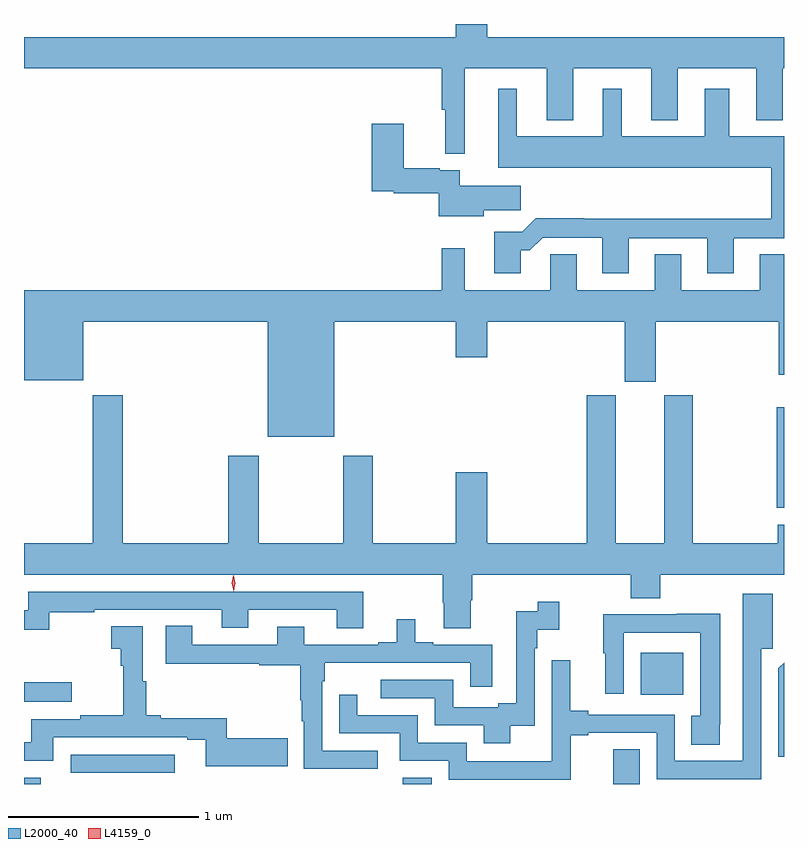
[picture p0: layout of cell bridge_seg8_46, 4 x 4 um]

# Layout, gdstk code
import gdstk
lib = gdstk.Library(unit=1e-6, precision=1e-09)
def R(c, l, rs):  # rectangles x0, y0, x1, y1
    for r in rs: c.add(gdstk.rectangle(r[:2], r[2:], *l))
def P(c, l, *ps):  # polygons
    for p in ps: c.add(gdstk.Polygon(p, *l))
L2000_40 = (2000, 40)
L4159_0 = (4159, 0)

bridge_seg8_46 = lib.new_cell('bridge_seg8_46')
R(bridge_seg8_46, L2000_40, [(882.015,1120.726,882.104,1120.759), (884.009,1120.726,884.161,1120.759), (885.116,1120.726,885.256,1120.91), (882.261,1120.785,882.808,1120.881), (882.015,1121.16,882.265,1121.261), (885.26,1121.195,885.484,1121.416), (885.976,1122.18,886.015,1122.709)])
P(bridge_seg8_46, L2000_40, [(884.335,1124.492),(884.765,1124.492),(884.765,1124.219),(884.905,1124.219),(884.905,1124.492),(885.317,1124.492),(885.317,1124.219),(885.457,1124.219),(885.457,1124.492),(885.869,1124.492),(885.869,1124.219),(886.009,1124.219),(886.009,1124.492),(886.015,1124.492),(886.015,1124.656),(884.452,1124.656),(884.452,1124.726),(884.288,1124.726),(884.288,1124.656),(882.015,1124.656),(882.015,1124.492),(884.214,1124.492),(884.214,1124.276),(884.232,1124.276),(884.232,1124.043),(884.335,1124.043)],
  [(884.629,1123.535),(884.678,1123.535),(884.745,1123.602),(885.059,1123.602),(885.059,1123.413),(885.199,1123.413),(885.199,1123.599),(885.611,1123.599),(885.611,1123.413),(885.751,1123.413),(885.751,1123.599),(886.015,1123.599),(886.015,1124.134),(885.727,1124.134),(885.727,1124.386),(885.599,1124.386),(885.599,1124.134),(885.16,1124.134),(885.16,1124.386),(885.062,1124.386),(885.062,1124.134),(884.608,1124.134),(884.608,1124.386),(884.51,1124.386),(884.51,1123.97),(885.947,1123.97),(885.947,1123.7),(884.963,1123.7),(884.963,1123.703),(884.708,1123.703),(884.638,1123.633),(884.489,1123.633),(884.489,1123.413),(884.629,1123.413)],
  [(884.434,1123.747),(884.629,1123.747),(884.629,1123.876),(884.308,1123.876),(884.308,1123.957),(884.202,1123.957),(884.202,1123.967),(884.014,1123.967),(884.014,1124.2),(883.844,1124.2),(883.844,1123.847),(883.96,1123.847),(883.96,1123.835),(884.198,1123.835),(884.198,1123.715),(884.434,1123.715)],
  [(883.648,1123.16),(884.288,1123.16),(884.288,1122.972),(884.452,1122.972),(884.452,1123.16),(885.176,1123.16),(885.176,1122.843),(885.34,1122.843),(885.34,1123.16),(885.988,1123.16),(885.988,1122.879),(886.015,1122.879),(886.015,1123.514),(885.887,1123.514),(885.887,1123.324),(885.475,1123.324),(885.475,1123.514),(885.335,1123.514),(885.335,1123.324),(884.923,1123.324),(884.923,1123.514),(884.784,1123.514),(884.784,1123.324),(884.335,1123.324),(884.335,1123.546),(884.214,1123.546),(884.214,1123.324),(882.015,1123.324),(882.015,1122.851),(882.328,1122.851),(882.328,1123.16),(883.298,1123.16),(883.298,1122.554),(883.648,1122.554)],
  [(884.365,1121.693),(884.373,1121.693),(884.373,1121.828),(885.208,1121.828),(885.208,1121.704),(885.363,1121.704),(885.363,1121.828),(886.015,1121.828),(886.015,1122.09),(885.982,1122.09),(885.982,1121.992),(885.534,1121.992),(885.534,1122.771),(885.386,1122.771),(885.386,1121.992),(885.13,1121.992),(885.13,1122.771),(884.978,1122.771),(884.978,1121.992),(884.452,1121.992),(884.452,1122.367),(884.288,1122.367),(884.288,1121.992),(883.851,1121.992),(883.851,1122.454),(883.696,1122.454),(883.696,1121.992),(883.251,1121.992),(883.251,1122.454),(883.091,1122.454),(883.091,1121.992),(882.536,1121.992),(882.536,1122.772),(882.376,1122.772),(882.376,1121.992),(882.015,1121.992),(882.015,1121.828),(884.218,1121.828),(884.218,1121.68),(884.225,1121.68),(884.225,1121.545),(884.365,1121.545)],
  [(882.148,1121.631),(882.386,1121.631),(882.386,1121.643),(883.055,1121.643),(883.055,1121.549),(883.195,1121.549),(883.195,1121.643),(883.661,1121.643),(883.661,1121.545),(883.801,1121.545),(883.801,1121.739),(882.038,1121.739),(882.038,1121.64),(882.015,1121.64),(882.015,1121.539),(882.148,1121.539)],
  [(884.892,1120.983),(884.986,1120.983),(884.986,1120.995),(885.345,1120.995),(885.345,1120.752),(885.894,1120.752),(885.894,1121.439),(885.955,1121.439),(885.955,1121.728),(885.798,1121.728),(885.798,1120.848),(885.441,1120.848),(885.441,1121.091),(884.986,1121.091),(884.986,1121.111),(884.891,1121.111),(884.891,1121.377),(884.793,1121.377),(884.793,1120.847),(884.792,1120.847),(884.792,1120.845),(884.346,1120.845),(884.346,1120.944),(884.088,1120.944),(884.088,1121.088),(883.77,1121.088),(883.77,1121.197),(883.674,1121.197),(883.674,1120.992),(883.992,1120.992),(883.992,1120.848),(884.25,1120.848),(884.25,1120.749),(884.892,1120.749)],
  [(884.575,1121.033),(884.703,1121.033),(884.703,1121.441),(884.716,1121.441),(884.716,1121.537),(884.833,1121.537),(884.833,1121.686),(884.72,1121.686),(884.72,1121.636),(884.607,1121.636),(884.607,1121.15),(884.51,1121.15),(884.51,1121.13),(884.274,1121.13),(884.274,1121.274),(883.893,1121.274),(883.893,1121.178),(884.178,1121.178),(884.178,1121.034),(884.435,1121.034),(884.435,1120.94),(884.575,1120.94)],
  [(885.677,1121.041),(885.679,1121.041),(885.679,1121.621),(885.451,1121.621),(885.451,1121.619),(885.063,1121.619),(885.063,1121.415),(885.074,1121.415),(885.074,1121.202),(885.171,1121.202),(885.171,1121.523),(885.575,1121.523),(885.575,1121.085),(885.526,1121.085),(885.526,1120.933),(885.677,1120.933)],
  [(883.876,1120.902),(883.584,1120.902),(883.584,1121.267),(883.597,1121.267),(883.597,1121.364),(884.363,1121.364),(884.363,1121.238),(884.479,1121.238),(884.479,1121.46),(884.17,1121.46),(884.17,1121.473),(884.074,1121.473),(884.074,1121.593),(883.976,1121.593),(883.976,1121.473),(883.88,1121.473),(883.88,1121.46),(883.489,1121.46),(883.489,1121.554),(883.349,1121.554),(883.349,1121.46),(882.901,1121.46),(882.901,1121.558),(882.761,1121.558),(882.761,1121.359),(883.253,1121.359),(883.253,1121.352),(883.468,1121.352),(883.468,1121.167),(883.476,1121.167),(883.476,1121.056),(883.488,1121.056),(883.488,1120.805),(883.876,1120.805)],
  [(883.403,1120.968),(883.081,1120.968),(883.081,1121.072),(882.736,1121.072),(882.736,1121.087),(882.659,1121.087),(882.659,1121.267),(882.639,1121.267),(882.639,1121.557),(882.474,1121.557),(882.474,1121.437),(882.523,1121.437),(882.523,1121.348),(882.538,1121.348),(882.538,1121.087),(882.311,1121.087),(882.311,1121.067),(882.052,1121.067),(882.052,1120.946),(882.015,1120.946),(882.015,1120.848),(882.168,1120.848),(882.168,1120.971),(882.875,1120.971),(882.875,1120.959),(882.971,1120.959),(882.971,1120.82),(883.403,1120.82)],
  [(886.015,1121.365),(885.984,1121.334),(885.984,1120.869),(886.015,1120.869)])
P(bridge_seg8_46, L4159_0, [(883.118,1121.74),(883.118,1121.74),(883.108,1121.782),(883.117,1121.823),(883.118,1121.823),(883.118,1121.823),(883.128,1121.782),(883.118,1121.74)])

lib.write_gds('bridge_seg8_46.gds')
